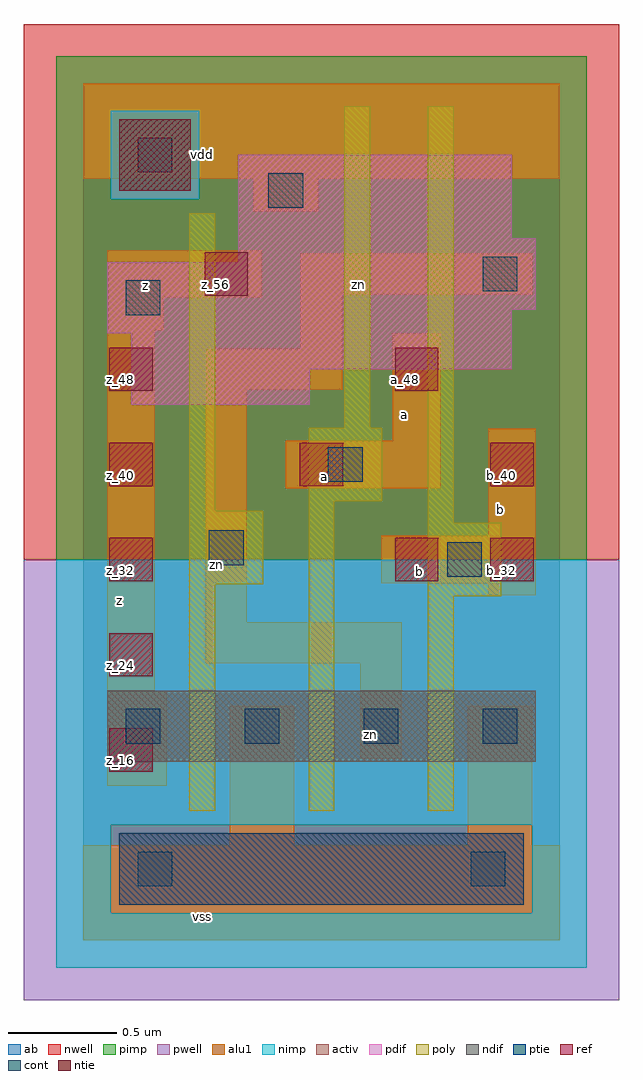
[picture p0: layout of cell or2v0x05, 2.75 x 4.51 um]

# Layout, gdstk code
import gdstk
lib = gdstk.Library(unit=1e-6, precision=2.5e-09)
def R(c, l, rs):  # rectangles x0, y0, x1, y1
    for r in rs: c.add(gdstk.rectangle(r[:2], r[2:], *l))
def A(c, l, x, y, w, h, nx, ny, dx, dy):  # array of equal rectangles
    R(c, l, [(x+i*dx, y+j*dy, x+i*dx+w, y+j*dy+h) for i in range(nx) for j in range(ny)])
ndif = (3, 0)
pdif = (4, 0)
ntie = (5, 0)
ptie = (6, 0)
ref = (24, 0)
cont = (25, 0)
pwell = (41, 0)
nwell = (42, 0)
activ = (43, 0)
pimp = (44, 0)
nimp = (45, 0)
poly = (46, 0)
alu1 = (49, 0)
ab = (63, 0)

or2v0x05 = lib.new_cell('or2v0x05')
R(or2v0x05, ndif, [(0.11,0.825,2.09,1.155)])
R(or2v0x05, pdif, [(0.22,2.475,1.045,2.64), (0.22,2.64,1.98,2.805), (0.11,2.805,1.98,2.915), (0.11,2.915,2.09,3.135), (0.715,3.135,2.09,3.245), (0.715,3.245,1.98,3.63)])
R(or2v0x05, ntie, [(0.165,3.465,0.495,3.795)])
R(or2v0x05, ptie, [(0.165,0.165,2.035,0.495)])
A(or2v0x05, ref, 0.12, 0.78, 0.2, 0.2, 1, 3, 0, 0.44)
A(or2v0x05, ref, 0.12, 2.1, 0.2, 0.2, 3, 1, 0.88, 0)
R(or2v0x05, ref, [(1.44,1.66,1.64,1.86), (1.88,1.66,2.08,1.86), (0.12,2.54,0.32,2.74), (1.44,2.54,1.64,2.74), (0.56,2.98,0.76,3.18)])
A(or2v0x05, cont, 0.195, 0.91, 0.16, 0.16, 4, 1, 0.55, 0)
R(or2v0x05, cont, [(0.25,0.25,0.41,0.41), (1.79,0.25,1.95,0.41), (1.68,1.68,1.84,1.84), (0.58,1.735,0.74,1.895), (1.13,2.12,1.29,2.28), (0.195,2.89,0.355,3.05), (1.845,3,2.005,3.16), (0.855,3.385,1.015,3.545), (0.25,3.55,0.41,3.71)])
R(or2v0x05, pwell, [(-0.275,-0.275,2.475,1.76)])
R(or2v0x05, nwell, [(-0.275,1.76,2.475,4.235)])
R(or2v0x05, activ, [(0.165,0.165,2.035,0.495), (0.11,0.825,2.09,1.155), (0.22,2.475,1.045,2.64), (0.22,2.64,1.98,2.805), (0.11,2.805,1.98,2.915), (0.11,2.915,2.09,3.135), (0.715,3.135,2.09,3.245), (0.715,3.245,1.98,3.63), (0.165,3.465,0.495,3.795)])
R(or2v0x05, pimp, [(0.125,0.125,2.075,0.535), (-0.125,1.76,2.325,3.425), (-0.125,3.425,0.125,3.835), (0.535,3.425,2.325,3.835), (-0.125,3.835,2.325,4.085)])
R(or2v0x05, nimp, [(-0.125,-0.125,2.325,0.125), (-0.125,0.125,0.125,0.535), (2.075,0.125,2.325,0.535), (-0.125,0.535,2.325,1.76), (0.125,3.425,0.535,3.835)])
R(or2v0x05, poly, [(0.49,0.6,0.61,1.645), (1.04,0.6,1.16,2.03), (1.59,0.6,1.71,1.59), (1.59,1.59,1.93,1.93), (0.49,1.645,0.83,1.985), (1.59,1.93,1.71,3.855), (0.49,1.985,0.61,3.36), (1.04,2.03,1.38,2.37), (1.205,2.37,1.325,3.855)])
R(or2v0x05, alu1, [(0,0,2.2,0.44), (0.675,0.44,0.975,1.085), (1.775,0.44,2.075,1.085), (0.11,0.715,0.385,1.155), (1.28,0.84,1.47,1.28), (0.11,1.155,0.33,2.82), (0.565,1.28,1.47,1.47), (0.565,1.47,0.755,2.545), (1.87,1.595,2.09,1.65), (1.375,1.65,2.09,1.87), (1.87,1.87,2.09,2.365), (0.935,2.09,1.65,2.31), (1.43,2.31,1.65,2.805), (0.565,2.545,1.195,2.735), (1.005,2.735,1.195,2.985), (0.11,2.82,0.37,2.97), (0.11,2.97,0.825,3.19), (1.005,2.985,2.075,3.175), (0.785,3.37,1.085,3.52), (0,3.52,2.2,3.96)])
R(or2v0x05, ab, [(0,0,2.2,3.96)])
or2v0x05.add(gdstk.Label('vss', (0.55,0.11), layer=49, texttype=0))
or2v0x05.add(gdstk.Label('zn', (1.3275,0.95), layer=49, texttype=0))
or2v0x05.add(gdstk.Label('b', (1.5525,1.705), layer=49, texttype=0))
or2v0x05.add(gdstk.Label('b', (1.925,1.9925), layer=49, texttype=0))
or2v0x05.add(gdstk.Label('a', (1.1125,2.145), layer=49, texttype=0))
or2v0x05.add(gdstk.Label('a', (1.485,2.4325), layer=49, texttype=0))
or2v0x05.add(gdstk.Label('zn', (0.6125,1.7375), layer=49, texttype=0))
or2v0x05.add(gdstk.Label('z', (0.165,1.57), layer=49, texttype=0))
or2v0x05.add(gdstk.Label('zn', (1.2725,3.0325), layer=49, texttype=0))
or2v0x05.add(gdstk.Label('z', (0.2875,3.025), layer=49, texttype=0))
or2v0x05.add(gdstk.Label('vdd', (0.55,3.63), layer=49, texttype=0))
or2v0x05.add(gdstk.Label('z_56', (0.61,3.03), layer=24, texttype=0))
or2v0x05.add(gdstk.Label('a_40', (1.05,2.15), layer=24, texttype=0))
or2v0x05.add(gdstk.Label('b_32', (1.49,1.71), layer=24, texttype=0))
or2v0x05.add(gdstk.Label('a_48', (1.49,2.59), layer=24, texttype=0))
or2v0x05.add(gdstk.Label('b_32', (1.93,1.71), layer=24, texttype=0))
or2v0x05.add(gdstk.Label('b_40', (1.93,2.15), layer=24, texttype=0))
or2v0x05.add(gdstk.Label('z_16', (0.17,0.83), layer=24, texttype=0))
or2v0x05.add(gdstk.Label('z_24', (0.17,1.27), layer=24, texttype=0))
or2v0x05.add(gdstk.Label('z_32', (0.17,1.71), layer=24, texttype=0))
or2v0x05.add(gdstk.Label('z_40', (0.17,2.15), layer=24, texttype=0))
or2v0x05.add(gdstk.Label('z_48', (0.17,2.59), layer=24, texttype=0))

lib.write_gds('or2v0x05.gds')
